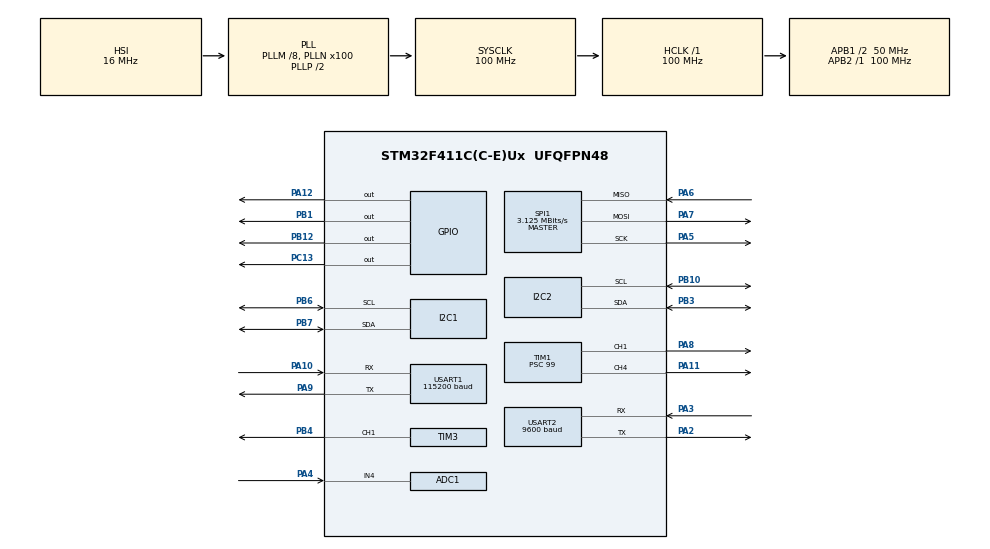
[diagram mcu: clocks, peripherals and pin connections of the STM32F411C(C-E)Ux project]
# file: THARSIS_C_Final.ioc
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Mcu.Family=STM32F4
PA6.Mode=Full_Duplex_Master
SH.S_TIM1_CH4.0=TIM1_CH4,PWM Generation4 CH4
RCC.CortexFreq_Value=100000000
FATFS._USE_LFN=1
SPI1.VirtualType=VM_MASTER
PB10.Mode=I2C
ADC1.ContinuousConvMode=ENABLE
USART1.BaudRate=115200
RCC.SYSCLKSource=RCC_SYSCLKSOURCE_PLLCLK
ProjectManager.StackSize=0x400
NVIC.ADC_IRQn=true\:0\:0\:false\:false\:true\:true\:true
PA12.Signal=GPIO_Output
TIM1.Prescaler=99
PH0\ -\ OSC_IN.Signal=RCC_OSC_IN
Dma.USART2_RX.0.Priority=DMA_PRIORITY_MEDIUM
TIM1.Channel-PWM\ Generation4\ CH4=TIM_CHANNEL_4
SPI1.Direction=SPI_DIRECTION_2LINES
Dma.USART2_RX.0.PeriphDataAlignment=DMA_PDATAALIGN_BYTE
RCC.HCLKFreq_Value=100000000
RCC.APB2TimFreq_Value=100000000
TIM3.Period=20000
PB6.Signal=I2C1_SCL
PB6.Mode=I2C
SPI1.CalculateBaudRate=3.125 MBits/s
RCC.AHBFreq_Value=100000000
TIM3.Channel-PWM\ Generation1\ CH1=TIM_CHANNEL_1
ADC1.Channel-0\#ChannelRegularConversion=ADC_CHANNEL_4
RCC.HSE_VALUE=25000000
PB3.Mode=I2C
PC13-ANTI_TAMP.Signal=GPIO_Output
Dma.USART2_RX.0.MemDataAlignment=DMA_MDATAALIGN_BYTE
TIM1.Channel-PWM\ Generation1\ CH1=TIM_CHANNEL_1
PA14.Mode=Serial_Wire
TIM3.Prescaler=99
Dma.USART2_RX.0.Instance=DMA1_Stream5
PB7.Signal=I2C1_SDA
PA8.Signal=S_TIM1_CH1
SH.S_TIM3_CH1.0=TIM3_CH1,PWM Generation1 CH1
VP_TIM1_VS_ClockSourceINT.Mode=Internal
ADC1.SamplingTime-0\#ChannelRegularConversion=ADC_SAMPLETIME_3CYCLES
Mcu.Package=UFQFPN48
PB1.Signal=GPIO_Output
PA6.Signal=SPI1_MISO
Dma.USART2_RX.0.PeriphInc=DMA_PINC_DISABLE
USART2.VirtualMode=VM_ASYNC
Dma.USART2_RX.0.FIFOMode=DMA_FIFOMODE_DISABLE
PA10.Signal=USART1_RX
RCC.APB1TimFreq_Value=100000000
TIM1.Period=20000
NVIC.USART1_IRQn=true\:0\:0\:false\:false\:true\:true\:true
Dma.Request0=USART2_RX
SPI1.BaudRatePrescaler=SPI_BAUDRATEPRESCALER_32
PB4.Signal=S_TIM3_CH1
PA3.Signal=USART2_RX
PA5.Mode=Full_Duplex_Master
ADC1.Rank-0\#ChannelRegularConversion=1
PA7.Mode=Full_Duplex_Master
PA10.Mode=Asynchronous
PH1\ -\ OSC_OUT.Mode=HSE-External-Oscillator
Dma.USART2_RX.0.Direction=DMA_PERIPH_TO_MEMORY
RCC.APB1CLKDivider=RCC_HCLK_DIV2
USART2.BaudRate=9600
Dma.USART2_RX.0.Mode=DMA_NORMAL
PA13.Signal=SYS_JTMS-SWDIO
PA3.Mode=Asynchronous
PA9.Mode=Asynchronous
PH0\ -\ OSC_IN.Mode=HSE-External-Oscillator
SH.S_TIM1_CH1.0=TIM1_CH1,PWM Generation1 CH1
ProjectManager.TargetToolchain=STM32CubeIDE
NVIC.DMA1_Stream5_IRQn=true\:0\:0\:false\:false\:true\:false\:true
I2C1.I2C_Mode=I2C_Standard
PA9.Signal=USART1_TX
RCC.LSE_VALUE=32768
VP_FATFS_VS_Generic.Mode=User_defined
PB10.Signal=I2C2_SCL
PA5.Signal=SPI1_SCK
PH1\ -\ OSC_OUT.Signal=RCC_OSC_OUT
board=custom
RCC.VCOOutputFreq_Value=200000000
RCC.APB2Freq_Value=100000000
SPI1.Mode=SPI_MODE_MASTER
SH.ADCx_IN4.0=ADC1_IN4,IN4
PA13.Mode=Serial_Wire
Mcu.Name=STM32F411C(C-E)Ux
Dma.USART2_RX.0.MemInc=DMA_MINC_ENABLE
PA2.Signal=USART2_TX
FATFS._MAX_SS=4096
RCC.48MHZClocksFreq_Value=50000000
PB3.Signal=I2C2_SDA
PA4.Signal=ADCx_IN4
RCC.SYSCLKFreq_VALUE=100000000
ADC1.master=1
USART1.VirtualMode=VM_ASYNC
PB7.Mode=I2C
PA11.Signal=S_TIM1_CH4
PA14.Signal=SYS_JTCK-SWCLK
ProjectManager.HeapSize=0x200
RCC.HSI_VALUE=16000000
NVIC.PriorityGroup=NVIC_PRIORITYGROUP_4
ADC1.NbrOfConversionFlag=1
RCC.PLLM=8
RCC.PLLN=100
PA2.Mode=Asynchronous
RCC.APB1Freq_Value=50000000
ADC1.ClockPrescaler=ADC_CLOCK_SYNC_PCLK_DIV4
PB12.Signal=GPIO_Output
PA7.Signal=SPI1_MOSI

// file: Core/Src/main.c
/* USER CODE BEGIN Header */
/**
  ******************************************************************************
  * @file           : main.c
  * @brief          : Main program body
  ******************************************************************************
  * @attention
  *
  * <h2><center>&copy; Copyright (c) 2021 STMicroelectronics.
  * All rights reserved.</center></h2>
  *
  * This software component is licensed by ST under BSD 3-Clause license,
  * the "License"; You may not use this file except in compliance with the
  * License. You may obtain a copy of the License at:
  *                        opensource.org/licenses/BSD-3-Clause
  *
  ******************************************************************************
  */
/* USER CODE END Header */
#include "main.h"
#include "adc.h"
#include "dma.h"
#include "fatfs.h"
#include "i2c.h"
#include "spi.h"
#include "tim.h"
#include "usart.h"
#include "gpio.h"

/* USER CODE BEGIN Includes */
#include "BMP388.h"
#include "MS5611.h"
#include "BMX160.h"
#include "DS3231.h"
#include "EEPROM.h"
#include "MahonyAHRS.h"
#include "Motor.h"
#include "MS5611.h"
#include "PID.h"
#include "string.h"
#include "GPS.h"
/* USER CODE END Includes */

/* USER CODE BEGIN PD */

// Uydu statü tanımları
#define STATE_BEKLEME 0
#define STATE_BEKLEME_STRING "BEKLEME"
#define STATE_YUKSELME 1
#define STATE_YUKSELME_STRING "YUKSELME"
#define STATE_TASIYICI_INIS 2
#define STATE_TASIYICI_INIS_STRING "TASIYICI INIS"
#define STATE_AYRILMA 3
#define STATE_AYRILMA_STRING "AYRILMA"
#define STATE_AKTIF_INIS 4
#define STATE_AKTIF_INIS_STRING "AKTIF_INIS"
#define STATE_IRTIFA_SABITLEME 5
#define STATE_IRTIFA_SABITLEME_STRING "IRTIFA_SABITLEME"
#define STATE_AKTIF_INIS_2 6
#define STATE_AKTIF_INIS_2_STRING "AKTIF_INIS_2"
#define STATE_LANDING_1 7
#define STATE_LANDING_1_STRING "LANDING_1"
#define STATE_LANDING_2 8
#define STATE_LANDING_2_STRING "LANDING_2"
#define STATE_LANDING_3 9
#define STATE_LANDING_3_STRING "LANDING_3"
#define STATE_SALVAGE 10
#define STATE_SALVAGE_STRING "KURTARMA"

// Statü geçişleri
#define STATE_TRANSITION_BEKLEME 			(BMP388_ALT <= 10 || VELOCITY <= 3) && CURRENT_STATE == 255
#define STATE_TRANSITION_YUKSELME			(BMP388_ALT >= 10 && CURRENT_STATE == STATE_BEKLEME)
#define STATE_TRANSITION_TASIYICI_INIS 		(((BMP388_PREV_ALT - BMP388_ALT) > 0) && CURRENT_STATE == STATE_YUKSELME)
#define STATE_TRANSITION_AYRILMA 			(BMP388_ALT <= 400 + 50 && (BMP388_ALT >= 400 - 50) && CURRENT_STATE == STATE_TASIYICI_INIS)
#define STATE_TRANSITION_AKTIF_INIS			(CURRENT_STATE == STATE_AYRILMA && DETACH_CONTROL == 1)
#define	STATE_TRANSITION_IRTIFA_SABITLEME 	(CURRENT_STATE == STATE_AKTIF_INIS && BMP388_ALT <= 250)
#define STATE_TRANSITION_AKTIF_INIS_2 		(HAL_GetTick() - IRTIFA_SABITLEME_TIMER >= 15000 && ((CURRENT_STATE == STATE_IRTIFA_SABITLEME)))
#define STATE_TRANSITION_LANDING_1 			(BMP388_ALT <= 50 && ((CURRENT_STATE == STATE_AKTIF_INIS_2)))
#define STATE_TRANSITION_LANDING_2 			(BMP388_ALT <= 30 && ((CURRENT_STATE == STATE_LANDING_1)))
#define STATE_TRANSITION_LANDING_3 			(BMP388_ALT <= 15 && ((CURRENT_STATE == STATE_LANDING_2)))
#define STATE_TRANSITION_SALVAGE 			(VELOCITY <= 1 && VELOCITY >= -1 && ((CURRENT_STATE == STATE_LANDING_3)))

// Statülere göre PID Hedef değerleri
#define DESIRED_SPEED_AKTIF_INIS -7
#define DESIRED_SPEED_IRTIFA_SABITLEME 0
#define DESIRED_SPEED_LANDING_1 -5
#define DESIRED_SPEED_LANDING_2 -3
#define DESIRED_SPEED_LANDING_3 -1

HAL_StatusTypeDef status;

/* USER CODE END PD */

/* USER CODE BEGIN PV */

// Genel algoritma değişkenleri
uint8_t CODE_RESET = 0; uint8_t CURRENT_STATE = 255;
char CURRENT_STATE_STRING[20];
uint16_t PACKAGE_COUNT = 0;
uint8_t DETACH_CONTROL = 0, MOTOR_CONTROL_1 = 0, MOTOR_CONTROL_2 = 0; uint32_t MOTOR_CONTROL_TIMER_1=0, MOTOR_CONTROL_TIMER_2=0;
uint32_t IRTIFA_SABITLEME_DURATION = 0; uint32_t IRTIFA_SABITLEME_TIMER=0;
uint32_t LOOP_TIMER_1HZ = 0, LOOP_TIMER_50HZ=0;
uint32_t TEST_TIME=0; uint8_t MOTOR_TEST_FLAG=0;
uint8_t SMOKE_CONTROL = 0;

// PID
PID_Object V_PID;
uint16_t CENTER_THROTTLE = 1500,THROTTLE=1000;
const uint16_t THROTTLE_MIN=1100, THROTTLE_MAX = 2000;

// BMP388 ve MS5611 verileri
double BMP388_T=0, BMP388_P=0, BMP388_ALT=0, BMP388_PREV_ALT = 0, BMP388_refAlt=0, BMP388_VELOCITY;
uint32_t RAW_TEMP[5], RAW_PRESSURE, RAW_TEMPERATURE, RAW_AVG_TEMP_TOTAL, TEMP;
uint8_t BAROMETER_COUNTER, TEMP_COUNTER, AVG_TEMP_MEM_LOCATION, PRESS_MEM_LOCATION;
int32_t PRESS_ROTATING_MEM[20], PRESS_TOTAL_AVG;
float MS5611_refAlt= 0, ACTUAL_PRESSURE, ACTUAL_PREV_PRESS, ACTUAL_PRESSURE_SLOW, ACTUAL_PRESSURE_FAST, ACTUAL_PRESSURE_DIFF, ACTUAL_ALTITUDE, PREV_ALTITUDE, VELOCITY;
float SLOW_FILTER_COEFFICIENT=0.985, FAST_FILTER_COEFFICIENT = 0.015;

// Motorlar
Motor mt1, mt2, servo; // mt1: Üstteki motor, mt2: Alttaki motor

// GPS Verileri
uint8_t RAW_GPS[512], GPS_CONTROL = 0;

// XBee değişkenleri
uint8_t GCS_Command = 0;
int xbee;

char XBee_Buffer[256];
//char XBee_Buffer2[256];
char VIDEO_STATE[16];
char Tasiyici_Buffer[256];
uint8_t xbee_rx_buffer[256];
uint8_t rxBuffer;
uint8_t rxBufferCounter = 0;
uint8_t dataArrived = 0;
// BMX160 değişkenleri
double ROLL=45, PITCH=30, YAW=127;
int RotationCount = 0;

//DS3231
extern DS3231 rtc;

//irtifa farkı
float subtraction;
// SD Card
FATFS fs;
FIL fil;
FRESULT fresult;
UINT br, bw;
FATFS *pfs;
DWORD fre_clust;

//ADC
uint16_t ADC_VAL; float VOLTAGE;

// I2C Scanner
uint8_t address[16];
int i=0;
extern HAL_StatusTypeDef i2c_status;

// Taşıyıcı data
float tPressure, tAltitude;
float tGPSAltitude,tLongitude, tLatitude;

uint8_t id;

/* USER CODE END PV */

void SystemClock_Config(void);
/* USER CODE BEGIN PFP */
void SD_write(char * str);
void SD_Mount(void);
uint8_t CHECK_START_STATUS(void);
void WRITE_START_STATUS(uint8_t STATUS);
void SENSOR_INIT(void);
void MOTOR_INIT(void);
void SW_INIT(void);
void WAIT_START(void);
void EEPROM_WRITE_REF_ALT(double ref);
void CHECK_SATELLITE_STATE(uint8_t statu_ctrl);
void GET_DATA(void);
void CHECK_STATE(void);
void READ_BAROMETER(void);
void HAL_UART_RxCpltCallback(UART_HandleTypeDef * huart);
void HAL_ADC_ConvCpltCallback(ADC_HandleTypeDef*hadc);
void DETACH(void);
void PID_LOOP(void);
void GET_CMD(void);
void TEST_MOTORS(void);
void EEPROM_1HZ(void);
void GET_GPS(void);
/* USER CODE END PFP */

int main(void)
{

  /* MCU Configuration--------------------------------------------------------*/

  /* Reset of all peripherals, Initializes the Flash interface and the Systick. */
  HAL_Init();

  /* Configure the system clock */
  SystemClock_Config();

  /* Initialize all configured peripherals */
	MX_GPIO_Init();
	MX_DMA_Init();
	MX_ADC1_Init();
	MX_I2C1_Init();

	MX_I2C2_Init();
	MX_SPI1_Init();
	MX_TIM1_Init();
	MX_USART1_UART_Init();
	MX_FATFS_Init();
	MX_TIM3_Init();
	MX_USART2_UART_Init();
  /* USER CODE BEGIN 2 */

  int k = 0;
  for(i=0; i<255; i++)
  {
	  i2c_status = HAL_I2C_IsDeviceReady(&hi2c2, i, 1, 10);
	  if(!i2c_status)
	  {
		  address[k] = i;
		  k++;
		  i++;

	  }
  }

  id = BMX160_Read_ID();
  SW_INIT();

  /* USER CODE END 2 */

  /* Infinite loop */
  /* USER CODE BEGIN WHILE */
  while (1)
  {
	  //sprintf(XBee_Buffer2,"13245, %.1f", 11.5);
	 // HAL_UART_Transmit_IT(&huart1, (uint8_t*)XBee_Buffer2, strlen(XBee_Buffer2));
    /* USER CODE END WHILE */

    /* USER CODE BEGIN 3 */
	 GET_DATA();
	 PID_LOOP();

  }
  /* USER CODE END 3 */
}

void SystemClock_Config(void)
{
  RCC_OscInitTypeDef RCC_OscInitStruct = {0};
  RCC_ClkInitTypeDef RCC_ClkInitStruct = {0};

  /** Configure the main internal regulator output voltage
  */
  __HAL_RCC_PWR_CLK_ENABLE();
  __HAL_PWR_VOLTAGESCALING_CONFIG(PWR_REGULATOR_VOLTAGE_SCALE1);
  /** Initializes the RCC Oscillators according to the specified parameters
  * in the RCC_OscInitTypeDef structure.
  */
  RCC_OscInitStruct.OscillatorType = RCC_OSCILLATORTYPE_HSI;
  RCC_OscInitStruct.HSIState = RCC_HSI_ON;
  RCC_OscInitStruct.HSICalibrationValue = RCC_HSICALIBRATION_DEFAULT;
  RCC_OscInitStruct.PLL.PLLState = RCC_PLL_ON;
  RCC_OscInitStruct.PLL.PLLSource = RCC_PLLSOURCE_HSI;
  RCC_OscInitStruct.PLL.PLLM = 8;
  RCC_OscInitStruct.PLL.PLLN = 100;
  RCC_OscInitStruct.PLL.PLLP = RCC_PLLP_DIV2;
  RCC_OscInitStruct.PLL.PLLQ = 4;
  if (HAL_RCC_OscConfig(&RCC_OscInitStruct) != HAL_OK)
  {
    Error_Handler();
  }
  /** Initializes the CPU, AHB and APB buses clocks
  */
  RCC_ClkInitStruct.ClockType = RCC_CLOCKTYPE_HCLK|RCC_CLOCKTYPE_SYSCLK
                              |RCC_CLOCKTYPE_PCLK1|RCC_CLOCKTYPE_PCLK2;
  RCC_ClkInitStruct.SYSCLKSource = RCC_SYSCLKSOURCE_PLLCLK;
  RCC_ClkInitStruct.AHBCLKDivider = RCC_SYSCLK_DIV1;
  RCC_ClkInitStruct.APB1CLKDivider = RCC_HCLK_DIV2;
  RCC_ClkInitStruct.APB2CLKDivider = RCC_HCLK_DIV1;

  if (HAL_RCC_ClockConfig(&RCC_ClkInitStruct, FLASH_LATENCY_3) != HAL_OK)
  {
    Error_Handler();
  }
}

/* USER CODE BEGIN 4 */

void SENSOR_INIT(void)
{
	BMX160_Begin();
	BMP388_Init();
	BMP388_readData(&BMP388_T, &BMP388_P);
	BMP388_refAlt = BMP388_readAltitude(BMP388_P, 1013);
	BMX160_getEulerAngles(&ROLL, &PITCH, &YAW);
	//MS5611_init();
	/*rtc.sec = 0;
	rtc.min = 56;
	rtc.hour = 19;
	DS3231_setTime(rtc);*/
	DS3231_getTime();

	// GPS Start
	HAL_UART_Receive_DMA(&huart2, RAW_GPS, 512);

	// XBee Command Start
	HAL_UART_Receive_IT(&huart1, &rxBuffer, 1);

	// ADC init
	HAL_ADC_Start_IT(&hadc1);
}

void MOTOR_INIT(void)
{
	mt1 = setMotor(&htim1, TIM_CHANNEL_1);
	startMotor(mt1);
	setMotorThrottle(mt1, 1000);
	mt2 = setMotor(&htim1, TIM_CHANNEL_4);
	startMotor(mt2);
	setMotorThrottle(mt2, 1000);
	servo = setMotor(&htim3, TIM_CHANNEL_1);
	startMotor(servo);
	setMotorThrottle(servo, 1000);

}

uint8_t CHECK_START_STATUS(void)
{
	uint8_t rByte=0;
	EEPROM_Read(0, EEPROM_OFFSET_RESET, &rByte, 1);
	return rByte;
}

void WRITE_START_STATUS(uint8_t STATUS)
{
	EEPROM_Write(0, EEPROM_OFFSET_RESET, &STATUS, 1);
}

void EEPROM_WRITE_REF_ALT(double ref)
{
	EEPROM_Write_NUM(0, EEPROM_OFFSET_REF_ALT, (float)ref);
}

void WAIT_START(void)
{
	while(0)
	{
		if(GCS_Command == 83) // 83: 'S' in ASCII
		{
			HAL_GPIO_TogglePin(GPIOC, GPIO_PIN_13);
			GCS_Command = 0;
			break;
		}
	}
}

void SW_INIT(void)
{
	// Saat ayarlama
	/*rtc.hour = 23;
	rtc.min = 10;
	rtc.sec = 0;
	DS3231_setTime(rtc);

	while(1);*/

	SD_Mount();
	uint8_t _code_status = CHECK_START_STATUS();

	if(_code_status == 1)
	{
		// Yazılım uçuş sırasında resetlendiyse
		EEPROM_Read(0, EEPROM_OFFSET_STATE, &CURRENT_STATE, 1);
		CHECK_SATELLITE_STATE(CURRENT_STATE);
		CHECK_STATE();
		BMP388_refAlt = EEPROM_Read_NUM(0, EEPROM_OFFSET_REF_ALT);
		PACKAGE_COUNT = EEPROM_Read_NUM(0, EEPROM_OFFSET_PACKAGE);
		for(int i = 0; i<20; i++)
		{
			if(i>=10)
			{
				PRESS_ROTATING_MEM[i] = EEPROM_Read_NUM(2, (i-10)*4);
			}
			else
			{
				PRESS_ROTATING_MEM[i] = EEPROM_Read_NUM(1, i*4);
			}

		}

		sprintf(VIDEO_STATE,"HAYIR");
		SENSOR_INIT();
		MOTOR_INIT();
		PRESS_TOTAL_AVG = EEPROM_Read_NUM(0, EEPROM_OFFSET_PRESS_TOTAL_AVG);
		ACTUAL_PRESSURE_FAST = EEPROM_Read_NUM(0, EEPROM_OFFSET_ACTUAL_PRESS_FAST);
		ACTUAL_PRESSURE_SLOW = EEPROM_Read_NUM(0, EEPROM_OFFSET_ACTUAL_PRESS_SLOW);
		ACTUAL_PRESSURE_DIFF = EEPROM_Read_NUM(0, EEPROM_OFFSET_ACTUAL_PRESSURE_DIFF);
		PRESS_MEM_LOCATION = EEPROM_Read_NUM(0, EEPROM_OFFSET_PRESS_MEM_LOC);
		ACTUAL_PRESSURE = EEPROM_Read_NUM(0, EEPROM_OFFSET_ACTUAL_PRESS_LOC);
		BAROMETER_COUNTER = EEPROM_Read_NUM(0, EEPROM_OFFSET_BAROMETER_CNT);

	}
	else
	{

		// Yazılım ilk kez çalışıyorsa
		SENSOR_INIT();
		MOTOR_INIT();
		EEPROM_PageErase(0);
		EEPROM_PageErase(1);
		EEPROM_PageErase(2);

		sprintf(VIDEO_STATE,"HAYIR");
		/*for(int i=0; i<1200; i++)
		{
			READ_BAROMETER();
			HAL_Delay(4);
		}*/
		MS5611_refAlt = ACTUAL_ALTITUDE;
		READ_BAROMETER();

		for(int n = 0; n<20; n++)
		{
			if(n>=10)
			{
				EEPROM_Write_NUM(2, (n-10)*4, PRESS_ROTATING_MEM[n]);
			}
			else
			{
				EEPROM_Write_NUM(1, n*4, PRESS_ROTATING_MEM[n]);
			}
		}

		CODE_RESET = 1;
		CURRENT_STATE = 255;
		PACKAGE_COUNT = 0;
		WRITE_START_STATUS(CODE_RESET);
		BMP388_readData(&BMP388_T, &BMP388_P);
		BMP388_refAlt = BMP388_readAltitude(BMP388_P, 1012);
		EEPROM_WRITE_REF_ALT(MS5611_refAlt);

		WAIT_START();
	}

}

void HAL_ADC_ConvCpltCallback(ADC_HandleTypeDef*hadc)
{
	ADC_VAL = HAL_ADC_GetValue(hadc);
	VOLTAGE = (float)ADC_VAL*3.3/4096*(42.2 + 15)/15 + 0.25;
}

void CHECK_SATELLITE_STATE(uint8_t statu_ctrl)
{
	switch(statu_ctrl)
	{
		case STATE_BEKLEME:
			sprintf(CURRENT_STATE_STRING, STATE_BEKLEME_STRING);
			break;
		case STATE_YUKSELME:
			sprintf(CURRENT_STATE_STRING, STATE_YUKSELME_STRING);
			break;
		case STATE_TASIYICI_INIS:
			sprintf(CURRENT_STATE_STRING, STATE_TASIYICI_INIS_STRING);
			break;
		case STATE_AYRILMA:
			sprintf(CURRENT_STATE_STRING, STATE_AYRILMA_STRING);
			break;
		case STATE_AKTIF_INIS:
			sprintf(CURRENT_STATE_STRING, STATE_AKTIF_INIS_STRING);
			break;
		case STATE_IRTIFA_SABITLEME:
			sprintf(CURRENT_STATE_STRING, STATE_IRTIFA_SABITLEME_STRING);
			break;
		case STATE_AKTIF_INIS_2:
			sprintf(CURRENT_STATE_STRING, STATE_AKTIF_INIS_2_STRING);
			break;
		case STATE_LANDING_1:
			sprintf(CURRENT_STATE_STRING, STATE_LANDING_1_STRING);
			break;
		case STATE_LANDING_2:
			sprintf(CURRENT_STATE_STRING, STATE_LANDING_2_STRING);
			break;
		case STATE_LANDING_3:
			sprintf(CURRENT_STATE_STRING, STATE_LANDING_3_STRING);
			break;
		case STATE_SALVAGE:
			sprintf(CURRENT_STATE_STRING, STATE_SALVAGE_STRING);
			break;
	}

}

// Statü geçişlerini kontrol eder. Ayrılma ve aktif iniş kontrolleri için statü kontrollerini de gerçekleştirir.
void CHECK_STATE(void)
{
	// Statü geçişleri
	if(STATE_TRANSITION_BEKLEME)
	{
		CURRENT_STATE = STATE_BEKLEME;
		sprintf(CURRENT_STATE_STRING, STATE_BEKLEME_STRING);
		initPID(&V_PID, 5, 0.01, 0, -200, 200, DESIRED_SPEED_AKTIF_INIS, 20);
	}

	if(STATE_TRANSITION_YUKSELME)
	{
		CURRENT_STATE = STATE_YUKSELME;
		sprintf(CURRENT_STATE_STRING, STATE_YUKSELME_STRING);
	}

	if(STATE_TRANSITION_TASIYICI_INIS)
	{
		CURRENT_STATE = STATE_TASIYICI_INIS;
		sprintf(CURRENT_STATE_STRING, STATE_TASIYICI_INIS_STRING);

	}

	if(STATE_TRANSITION_AYRILMA)
	{
		CURRENT_STATE = STATE_AYRILMA;
		sprintf(CURRENT_STATE_STRING, STATE_AYRILMA_STRING);
	}

	if(STATE_TRANSITION_AKTIF_INIS)
	{
		CURRENT_STATE = STATE_AKTIF_INIS;
		sprintf(CURRENT_STATE_STRING, STATE_AKTIF_INIS_STRING);
		initPID(&V_PID, 20, 0.01, 0, -500, 500, DESIRED_SPEED_AKTIF_INIS, 20);
	}

	if(STATE_TRANSITION_IRTIFA_SABITLEME)
	{
		CURRENT_STATE = STATE_IRTIFA_SABITLEME;
		sprintf(CURRENT_STATE_STRING, STATE_IRTIFA_SABITLEME_STRING);
		initPID(&V_PID, 25, 0.01, 0, -500, 500, DESIRED_SPEED_IRTIFA_SABITLEME, 20);
		IRTIFA_SABITLEME_TIMER = HAL_GetTick();
	}

	if(STATE_TRANSITION_AKTIF_INIS_2)
	{
		CURRENT_STATE = STATE_AKTIF_INIS_2;
		sprintf(CURRENT_STATE_STRING, STATE_AKTIF_INIS_2_STRING);
		initPID(&V_PID, 20, 0.01, 0, -500, 500, DESIRED_SPEED_AKTIF_INIS, 20);
	}

	if(STATE_TRANSITION_LANDING_1)
	{
		CURRENT_STATE = STATE_LANDING_1;
		sprintf(CURRENT_STATE_STRING, STATE_LANDING_1_STRING);
		initPID(&V_PID, 20, 0.01, 0, -500, 500, DESIRED_SPEED_LANDING_1, 20);
	}

	if(STATE_TRANSITION_LANDING_2)
	{
		CURRENT_STATE = STATE_LANDING_2;
		sprintf(CURRENT_STATE_STRING, STATE_LANDING_2_STRING);
		initPID(&V_PID, 25, 0.01, 0, -500, 500, DESIRED_SPEED_LANDING_2, 20);
	}

	if(STATE_TRANSITION_LANDING_3)
	{
		CURRENT_STATE = STATE_LANDING_3;
		sprintf(CURRENT_STATE_STRING, STATE_LANDING_3_STRING);
		initPID(&V_PID, 30, 0.01, 0, -500, 500, DESIRED_SPEED_LANDING_3, 20);
	}

	if(STATE_TRANSITION_SALVAGE)
	{
		CURRENT_STATE = STATE_SALVAGE;
		sprintf(CURRENT_STATE_STRING, STATE_SALVAGE_STRING);
		initPID(&V_PID, 0, 0.00, 0, -200, 200, 0, 20);
		resetPID(&V_PID);
		setMotorThrottle(mt1, 1000);
		setMotorThrottle(mt2, 1000);
	}

	// Ayrılma ve motor kontrolleri
	if(CURRENT_STATE == STATE_AYRILMA)
	{
		DETACH();
	}

}

void DETACH(void)
{
	DETACH_CONTROL = 1;
	setMotorThrottle(servo, 2000);
}

void ATTACH(void)
{
	DETACH_CONTROL = 0;
	setMotorThrottle(servo, 1000);
}

char * str_xbee;
void GET_DATA(void)
{

	if(HAL_GetTick()-LOOP_TIMER_1HZ > 920)
	{
		GPS_Process((char)*RAW_GPS);
		GET_CMD();
		PACKAGE_COUNT++;
		BMX160_getEulerAngles(&ROLL, &PITCH, &YAW);
		BMP388_readData(&BMP388_T, &BMP388_P);
		BMP388_PREV_ALT = BMP388_ALT;
		BMP388_ALT = BMP388_readAltitude(BMP388_P, 1013) - BMP388_refAlt;
		BMP388_VELOCITY = BMP388_ALT - BMP388_PREV_ALT;
		HAL_ADC_Start_IT(&hadc1);
		EEPROM_1HZ();
		DS3231_getTime();

		if(dataArrived)
		{

			str_xbee = strstr(xbee_rx_buffer,"395669,");
			sscanf(str_xbee,"395669,%f,%f,%f,%f\r\n", &tPressure, &tLatitude, &tLongitude, &tGPSAltitude);
			memset(xbee_rx_buffer,1,256);
			tAltitude = BMP388_readAltitude(tPressure, 1013);
			tAltitude = tAltitude - BMP388_refAlt - 55.0;
			subtraction = tAltitude - BMP388_ALT;
			//sprintf
			/*snprintf(XBee_Buffer,256, "58479,%d, %d/%d/%d, %.1f, %.1f, %.1f, %.1f, %.1f, %.1f, %.2f, %f, %f, %.1f, %s, %.0f, %.0f, %.0f, 0, %d, %s\r\n",
			PACKAGE_COUNT,rtc.hour,rtc.min,rtc.sec,BMP388_P, tPressure, BMP388_ALT, tAltitude, VELOCITY,BMP388_T,VOLTAGE,hgps
			.GPGGA.LatitudeDecimal,hgps.GPGGA.LongitudeDecimal,hgps.GPGGA.MSL_Altitude,CURRENT_STATE_STRING,
			PITCH,ROLL,YAW,RotationCount,VIDEO_STATE);*/

			//snprintf(XBee_Buffer,256, "58479,%d,%d/%d/%d\r\n",PACKAGE_COUNT,rtc.hour,rtc.min,rtc.sec);

			snprintf(XBee_Buffer,256, "395669,%d,%d:%d:%d,%.1f, %.1f, %.1f,%.1f, %.1f, %.1f,%.1f,%.2f,%f,%f,%.1f,%.1f,%.1f,%.1f,%s,%.0f,%.0f,%.0f,%d,%s\r\n",
			PACKAGE_COUNT,rtc.hour,rtc.min,rtc.sec,BMP388_P,tPressure, BMP388_ALT,tAltitude, subtraction,VELOCITY,BMP388_T,VOLTAGE,hgps
			.GPGGA.LatitudeDecimal,hgps.GPGGA.LongitudeDecimal,hgps.GPGGA.MSL_Altitude,tLatitude, tLongitude, tGPSAltitude,CURRENT_STATE_STRING,
			PITCH,ROLL,YAW,RotationCount,VIDEO_STATE);

			//snprintf(XBee_Buffer,256 ,"58479, %d\r\n",10);
			dataArrived = 0;

			//memset(xbee_rx_buffer,0,sizeof(xbee_rx_buffer));
		}
		else
		{
			snprintf(XBee_Buffer,256, "395669,%d, %d:%d:%d, %.1f, %.1f, %.1f, %.1f, %.1f, %.1f, %.1f, %.2f, %f, %f, %.1f, %s, %.0f, %.0f, %.0f, %d, %s\r\n",
						PACKAGE_COUNT,rtc.hour,rtc.min,rtc.sec,BMP388_P, tPressure, BMP388_ALT, tAltitude, subtraction, VELOCITY,BMP388_T,VOLTAGE,hgps
						.GPGGA.LatitudeDecimal,hgps.GPGGA.LongitudeDecimal,hgps.GPGGA.MSL_Altitude,CURRENT_STATE_STRING,
						PITCH,ROLL,YAW,RotationCount,VIDEO_STATE);
		}

		status = HAL_UART_Transmit_IT(&huart1, (uint8_t*)XBee_Buffer, strlen(XBee_Buffer));

		SD_write(XBee_Buffer);
		HAL_GPIO_TogglePin(GPIOC, GPIO_PIN_13);
		if(CURRENT_STATE == STATE_SALVAGE)
		{
			HAL_GPIO_TogglePin(GPIOB, GPIO_PIN_12);
		}
		LOOP_TIMER_1HZ = HAL_GetTick();
	}

	if(HAL_GetTick()-LOOP_TIMER_50HZ > 20)
	{
		CHECK_STATE();
		READ_BAROMETER();
		VELOCITY = (ACTUAL_ALTITUDE - PREV_ALTITUDE)*50; //(ACTUAL_PRESSURE - ACTUAL_PREV_PRESS)/11.7*50
		LOOP_TIMER_50HZ = HAL_GetTick();
		PREV_ALTITUDE = ACTUAL_ALTITUDE;
		ACTUAL_PREV_PRESS = ACTUAL_PRESSURE;

	}
}

void PID_LOOP(void)
{
	if(DETACH_CONTROL && CURRENT_STATE < STATE_SALVAGE && CURRENT_STATE > STATE_AYRILMA)
	{
		if(MOTOR_CONTROL_1 && !MOTOR_CONTROL_2)
		{
			setMotorThrottle(mt1, CENTER_THROTTLE);
		}

		if(MOTOR_CONTROL_1 && MOTOR_CONTROL_2)
		{
			computePID(&V_PID,VELOCITY);
			THROTTLE = CENTER_THROTTLE + V_PID.Output;
			if(THROTTLE >= THROTTLE_MAX) THROTTLE = THROTTLE_MAX;
			if(THROTTLE <= THROTTLE_MIN) THROTTLE = THROTTLE_MIN;
			setMotorThrottle(mt1, THROTTLE);
			setMotorThrottle(mt2, THROTTLE);
		}
	}
}

void READ_BAROMETER(void)
{
	BAROMETER_COUNTER++;
	MS5611_read_temp();
	MS5611_read_press();
	MS5611_calculate();
	PRESS_TOTAL_AVG -= PRESS_ROTATING_MEM[PRESS_MEM_LOCATION];
	PRESS_ROTATING_MEM[PRESS_MEM_LOCATION] = ms5611_t.P;
	PRESS_TOTAL_AVG += PRESS_ROTATING_MEM[PRESS_MEM_LOCATION];
	PRESS_MEM_LOCATION++;
	if(PRESS_MEM_LOCATION == 20) PRESS_MEM_LOCATION = 0;
	ACTUAL_PRESSURE_FAST = (float)PRESS_TOTAL_AVG/20.0;
	ACTUAL_PRESSURE_SLOW = ACTUAL_PRESSURE_SLOW*SLOW_FILTER_COEFFICIENT + ACTUAL_PRESSURE_FAST*FAST_FILTER_COEFFICIENT;
	ACTUAL_PRESSURE_DIFF = ACTUAL_PRESSURE_SLOW-ACTUAL_PRESSURE_FAST;
	if (ACTUAL_PRESSURE_DIFF > 8)ACTUAL_PRESSURE_DIFF = 8;
	if (ACTUAL_PRESSURE_DIFF < -8)ACTUAL_PRESSURE_DIFF = -8;
	if (ACTUAL_PRESSURE_DIFF > 1 || ACTUAL_PRESSURE_DIFF < -1) ACTUAL_PRESSURE_SLOW -= ACTUAL_PRESSURE_DIFF / 6.0;
	ACTUAL_PRESSURE = ACTUAL_PRESSURE_SLOW;
	ACTUAL_ALTITUDE = MS5611_readAlt(ACTUAL_PRESSURE) - MS5611_refAlt;

}

void HAL_UART_RxCpltCallback(UART_HandleTypeDef * huart)
{
	if(huart->Instance == huart2.Instance)
	{
		HAL_UART_Receive_DMA(&huart2, RAW_GPS, 512);
		GPS_CONTROL = 1;
	}

	if(huart->Instance == huart1.Instance)
	{
		if(rxBuffer != 0) xbee_rx_buffer[rxBufferCounter] = rxBuffer;
		rxBufferCounter++;
		HAL_UART_Receive_IT(&huart1, &rxBuffer, 1);
		if(rxBuffer == 10)
		{
			rxBufferCounter = 0;
			dataArrived = 1;
		}
		if(rxBuffer == 126)
		{
			GCS_Command = xbee_rx_buffer[rxBufferCounter-2];
			rxBufferCounter = 0;
		}
	}
}

void SD_write(char * str)
{
	fresult = f_open(&fil, "Telemetri.txt", FA_OPEN_ALWAYS|FA_READ|FA_WRITE);
	fresult = f_lseek(&fil,f_size(&fil));
	//fresult = f_puts(str,&fil);
	fresult = f_write(&fil,str,strlen(str),&bw);
	fresult = f_close(&fil);
}

void SD_Mount(void)
{
	fresult = f_mount(&fs,"",0);
}

void GET_CMD(void)
{
	switch(GCS_Command)
	{
		// Ayrılma komutu
		case 'A' :
			DETACH();
			break;

		// Birleşme komutu
		case 'B':
			ATTACH();
			break;

		// Motor tahrik
		case 'T':
			TEST_MOTORS();
			break;
		case 'D':
			setMotorThrottle(mt1, 1000);
			setMotorThrottle(mt2, 1000);
			MOTOR_TEST_FLAG = 0;
			break;
		// Sensör kalibrasyonu
		case 'K':
			break;

		case 'Z':
			EEPROM_PageErase(0);
			EEPROM_PageErase(1);
			EEPROM_PageErase(2);
			MOTOR_CONTROL_1 = 0;
			MOTOR_CONTROL_2 = 0;
			setMotorThrottle(mt1, 1000);
			setMotorThrottle(mt2, 1000);
			resetPID(&V_PID);
			while(1);
			break;
		// Video aktarımı
		case 'V':
			sprintf(VIDEO_STATE,"EVET");
			break;
		default: GCS_Command = 0;
	}
	GCS_Command = 0;
}

void TEST_MOTORS(void)
{
	if(1)
	{
		setMotorThrottle(mt1, 1200);
		TEST_TIME = HAL_GetTick();
		MOTOR_TEST_FLAG = 1;
	}
}

void EEPROM_1HZ(void)
{
	EEPROM_Write_NUM(0, EEPROM_OFFSET_PACKAGE, (float)PACKAGE_COUNT);
	EEPROM_Write(0, EEPROM_OFFSET_STATE, &CURRENT_STATE, 1);
	if(PRESS_MEM_LOCATION >= 10)
	{
		EEPROM_Write_NUM(2, (PRESS_MEM_LOCATION-10)*4, (float)PRESS_ROTATING_MEM[PRESS_MEM_LOCATION]);
	}
	else
	{
		EEPROM_Write_NUM(1, PRESS_MEM_LOCATION*4, (float)PRESS_ROTATING_MEM[PRESS_MEM_LOCATION]);
	}

	EEPROM_Write_NUM(0, EEPROM_OFFSET_PRESS_TOTAL_AVG, (float)PRESS_TOTAL_AVG);
	EEPROM_Write_NUM(0, EEPROM_OFFSET_ACTUAL_PRESS_FAST, (float)ACTUAL_PRESSURE_FAST);
	EEPROM_Write_NUM(0, EEPROM_OFFSET_ACTUAL_PRESS_SLOW, (float)ACTUAL_PRESSURE_SLOW);
	EEPROM_Write_NUM(0, EEPROM_OFFSET_ACTUAL_PRESSURE_DIFF, (float)ACTUAL_PRESSURE_DIFF);
	EEPROM_Write_NUM(0, EEPROM_OFFSET_PRESS_MEM_LOC, (float)PRESS_MEM_LOCATION);
	EEPROM_Write_NUM(0, EEPROM_OFFSET_ACTUAL_PRESS_LOC, (float)ACTUAL_PRESSURE);
	EEPROM_Write_NUM(0, EEPROM_OFFSET_BAROMETER_CNT, (float)BAROMETER_COUNTER);
}

void GET_GPS(void)
{
	if(GPS_CONTROL)
	{
		GPS_Process((char)*RAW_GPS);
		GPS_CONTROL = 0;
	}
}

void HAL_I2C_MasterTxCpltCallback(I2C_HandleTypeDef *hi2c)
{

}

void HAL_I2C_MasterRxCpltCallback(I2C_HandleTypeDef *hi2c)
{

}

/* USER CODE END 4 */

void Error_Handler(void)
{
}

/************************ (C) COPYRIGHT STMicroelectronics *****END OF FILE****/
